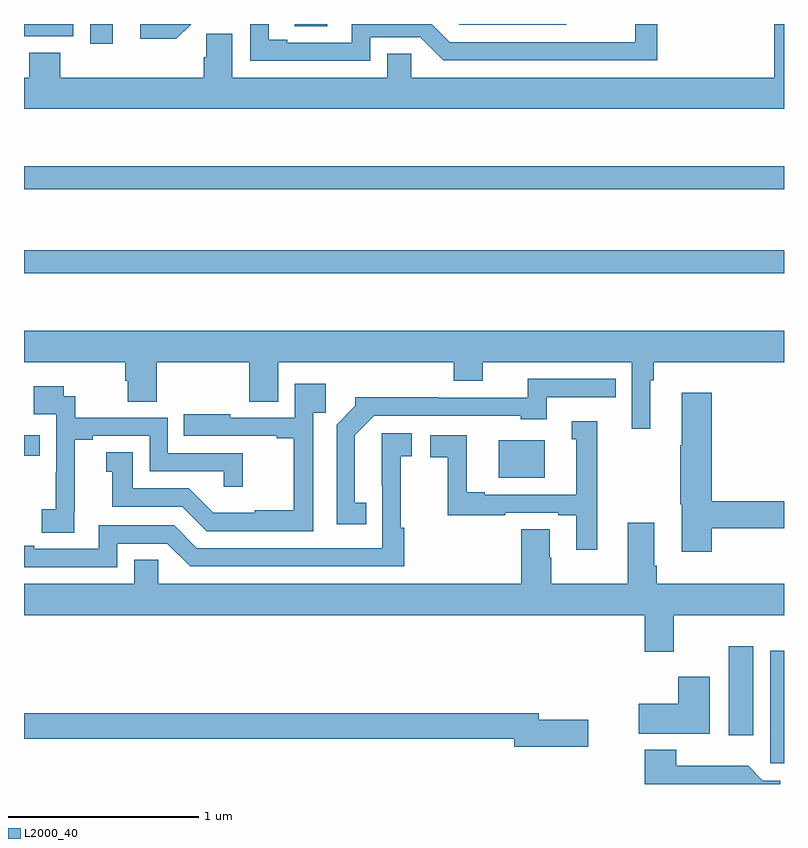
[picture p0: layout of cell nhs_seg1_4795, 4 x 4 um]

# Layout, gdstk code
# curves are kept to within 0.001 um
import gdstk
lib = gdstk.Library(unit=1e-6, precision=1e-09)
def R(c, l, rs):  # rectangles x0, y0, x1, y1
    for r in rs: c.add(gdstk.rectangle(r[:2], r[2:], *l))
def P(c, l, *ps):  # polygons
    for p in ps: c.add(gdstk.Polygon(p, *l))
L2000_40 = (2000, 40)

nhs_seg1_4795 = lib.new_cell('nhs_seg1_4795')
R(nhs_seg1_4795, L2000_40, [(374.927,528.309,375,528.901), (374.708,528.456,374.839,528.925), (373.499,529.811,373.741,530.008), (371,529.926,371.084,530.034), (371,530.886,375,531.007), (371,531.33,375,531.451), (371.349,532.095,371.467,532.199), (371,532.134,371.259,532.199), (372.426,532.186,372.596,532.199)])
P(nhs_seg1_4795, L2000_40, [(375,532.199),(374.948,532.199),(374.948,531.916),(373.038,531.916),(373.038,532.043),(372.911,532.043),(372.911,531.916),(372.097,531.916),(372.097,532.148),(371.958,532.148),(371.958,532.025),(371.945,532.025),(371.945,531.916),(371.192,531.916),(371.192,532.049),(371.027,532.049),(371.027,531.916),(371,531.916),(371,531.752),(375,531.752)],
  [(372.822,532.128),(373.086,532.128),(373.206,532.008),(374.333,532.008),(374.333,532.199),(374.217,532.199),(374.217,532.104),(373.242,532.104),(373.147,532.199),(372.726,532.199),(372.726,532.101),(372.385,532.101),(372.385,532.116),(372.289,532.116),(372.289,532.199),(372.192,532.199),(372.192,532.005),(372.822,532.005)],
  [(373.854,532.199),(373.288,532.199),(373.293,532.194),(373.854,532.194)],
  [(371.879,532.199),(371.613,532.199),(371.613,532.121),(371.8,532.121)],
  [(374.296,530.324),(374.315,530.324),(374.315,530.42),(375,530.42),(375,530.584),(371,530.584),(371,530.42),(371.534,530.42),(371.534,530.322),(371.546,530.322),(371.546,530.212),(371.699,530.212),(371.699,530.42),(372.185,530.42),(372.185,530.212),(372.337,530.212),(372.337,530.42),(373.262,530.42),(373.262,530.321),(373.414,530.321),(373.414,530.42),(374.199,530.42),(374.199,530.07),(374.296,530.07)],
  [(372.8,529.679),(372.742,529.679),(372.742,530.035),(372.843,530.136),(373.614,530.136),(373.614,530.12),(373.75,530.12),(373.75,530.235),(374.114,530.235),(374.114,530.331),(373.651,530.331),(373.651,530.232),(373.178,530.232),(373.178,530.234),(372.744,530.234),(372.744,530.189),(372.645,530.09),(372.645,529.566),(372.8,529.566)],
  [(372.522,530.153),(372.587,530.153),(372.587,530.305),(372.426,530.305),(372.426,530.127),(372.085,530.127),(372.085,530.146),(371.842,530.146),(371.842,530.031),(372.329,530.031),(372.329,530.019),(372.421,530.019),(372.421,529.639),(372.215,529.639),(372.215,529.627),(371.996,529.627),(371.868,529.755),(371.572,529.755),(371.572,529.946),(371.432,529.946),(371.432,529.843),(371.465,529.843),(371.465,529.659),(371.832,529.659),(371.961,529.53),(372.522,529.53)],
  [(371.264,529.633),(371.266,529.633),(371.266,530.011),(371.362,530.011),(371.362,530.031),(371.661,530.031),(371.661,529.845),(372.051,529.845),(372.051,529.764),(372.152,529.764),(372.152,529.941),(371.757,529.941),(371.757,530.127),(371.27,530.127),(371.27,530.241),(371.208,530.241),(371.208,530.293),(371.052,530.293),(371.052,530.145),(371.169,530.145),(371.169,529.841),(371.168,529.841),(371.168,529.644),(371.094,529.644),(371.094,529.522),(371.264,529.522)],
  [(374.621,529.546),(375,529.546),(375,529.688),(374.621,529.688),(374.621,530.257),(374.462,530.257),(374.462,529.982),(374.455,529.982),(374.455,529.671),(374.462,529.671),(374.462,529.422),(374.621,529.422)],
  [(374.017,530.107),(373.883,530.107),(373.883,530.013),(373.907,530.013),(373.907,529.722),(373.426,529.722),(373.426,529.735),(373.33,529.735),(373.33,530.034),(373.137,530.034),(373.137,529.918),(373.231,529.918),(373.231,529.614),(373.532,529.614),(373.532,529.626),(373.811,529.626),(373.811,529.614),(373.907,529.614),(373.907,529.431),(374.017,529.431)],
  [(371.49,529.464),(371.754,529.464),(371.874,529.344),(373.001,529.344),(373.001,529.547),(372.984,529.547),(372.984,529.923),(373.042,529.923),(373.042,530.044),(372.884,530.044),(372.885,529.44),(371.91,529.44),(371.79,529.56),(371.394,529.56),(371.394,529.437),(371.053,529.437),(371.053,529.452),(371,529.452),(371,529.341),(371.49,529.341)],
  [(374.419,529.088),(375,529.088),(375,529.252),(374.33,529.252),(374.33,529.348),(374.317,529.348),(374.317,529.573),(374.177,529.573),(374.177,529.252),(373.776,529.252),(373.776,529.391),(373.768,529.391),(373.768,529.541),(373.616,529.541),(373.616,529.252),(371.706,529.252),(371.706,529.379),(371.579,529.379),(371.579,529.252),(371,529.252),(371,529.088),(374.267,529.088),(374.267,528.894),(374.419,528.894)],
  [(374.608,528.763),(374.444,528.763),(374.444,528.622),(374.235,528.622),(374.235,528.464),(374.608,528.464)],
  [(373.969,528.536),(373.708,528.536),(373.708,528.572),(371,528.572),(371,528.436),(373.58,528.436),(373.58,528.394),(373.969,528.394)],
  [(374.98,528.216),(374.889,528.216),(374.811,528.295),(374.432,528.295),(374.432,528.379),(374.267,528.379),(374.267,528.199),(374.98,528.199)])

lib.write_gds('nhs_seg1_4795.gds')
